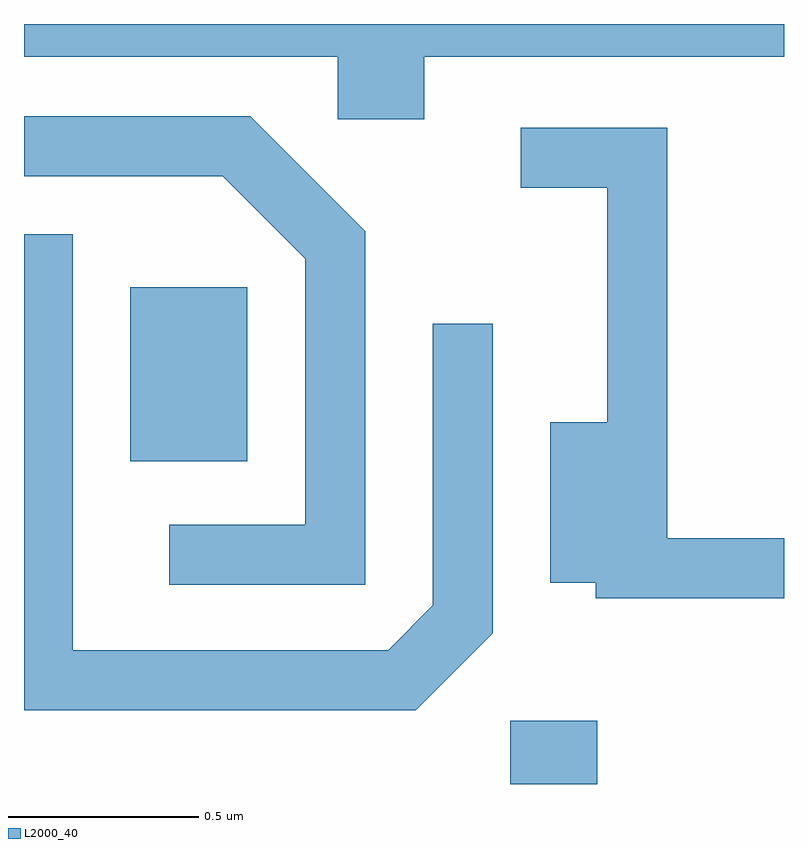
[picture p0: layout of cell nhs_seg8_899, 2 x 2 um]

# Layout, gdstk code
import gdstk
lib = gdstk.Library(unit=1e-6, precision=1e-09)
def R(c, l, rs):  # rectangles x0, y0, x1, y1
    for r in rs: c.add(gdstk.rectangle(r[:2], r[2:], *l))
def P(c, l, *ps):  # polygons
    for p in ps: c.add(gdstk.Polygon(p, *l))
L2000_40 = (2000, 40)

nhs_seg8_899 = lib.new_cell('nhs_seg8_899')
R(nhs_seg8_899, L2000_40, [(192.891,1883.342,193.119,1883.509), (191.891,1884.191,192.199,1884.649)])
P(nhs_seg8_899, L2000_40, [(192.664,1885.256),(193.611,1885.256),(193.611,1885.342),(191.611,1885.342),(191.611,1885.256),(192.436,1885.256),(192.436,1885.091),(192.664,1885.091)],
  [(192.509,1884.797),(192.207,1885.099),(191.611,1885.099),(191.611,1884.941),(192.134,1884.941),(192.351,1884.724),(192.351,1884.024),(191.993,1884.024),(191.993,1883.866),(192.509,1883.866)],
  [(193.611,1883.989),(193.304,1883.989),(193.304,1885.069),(192.918,1885.069),(192.918,1884.911),(193.146,1884.911),(193.146,1884.294),(192.996,1884.294),(192.996,1883.871),(193.116,1883.871),(193.116,1883.831),(193.611,1883.831)],
  [(192.844,1883.739),(192.844,1884.553),(192.686,1884.553),(192.686,1883.812),(192.569,1883.694),(191.739,1883.694),(191.739,1884.789),(191.611,1884.789),(191.611,1883.536),(192.642,1883.536)])

lib.write_gds('nhs_seg8_899.gds')
